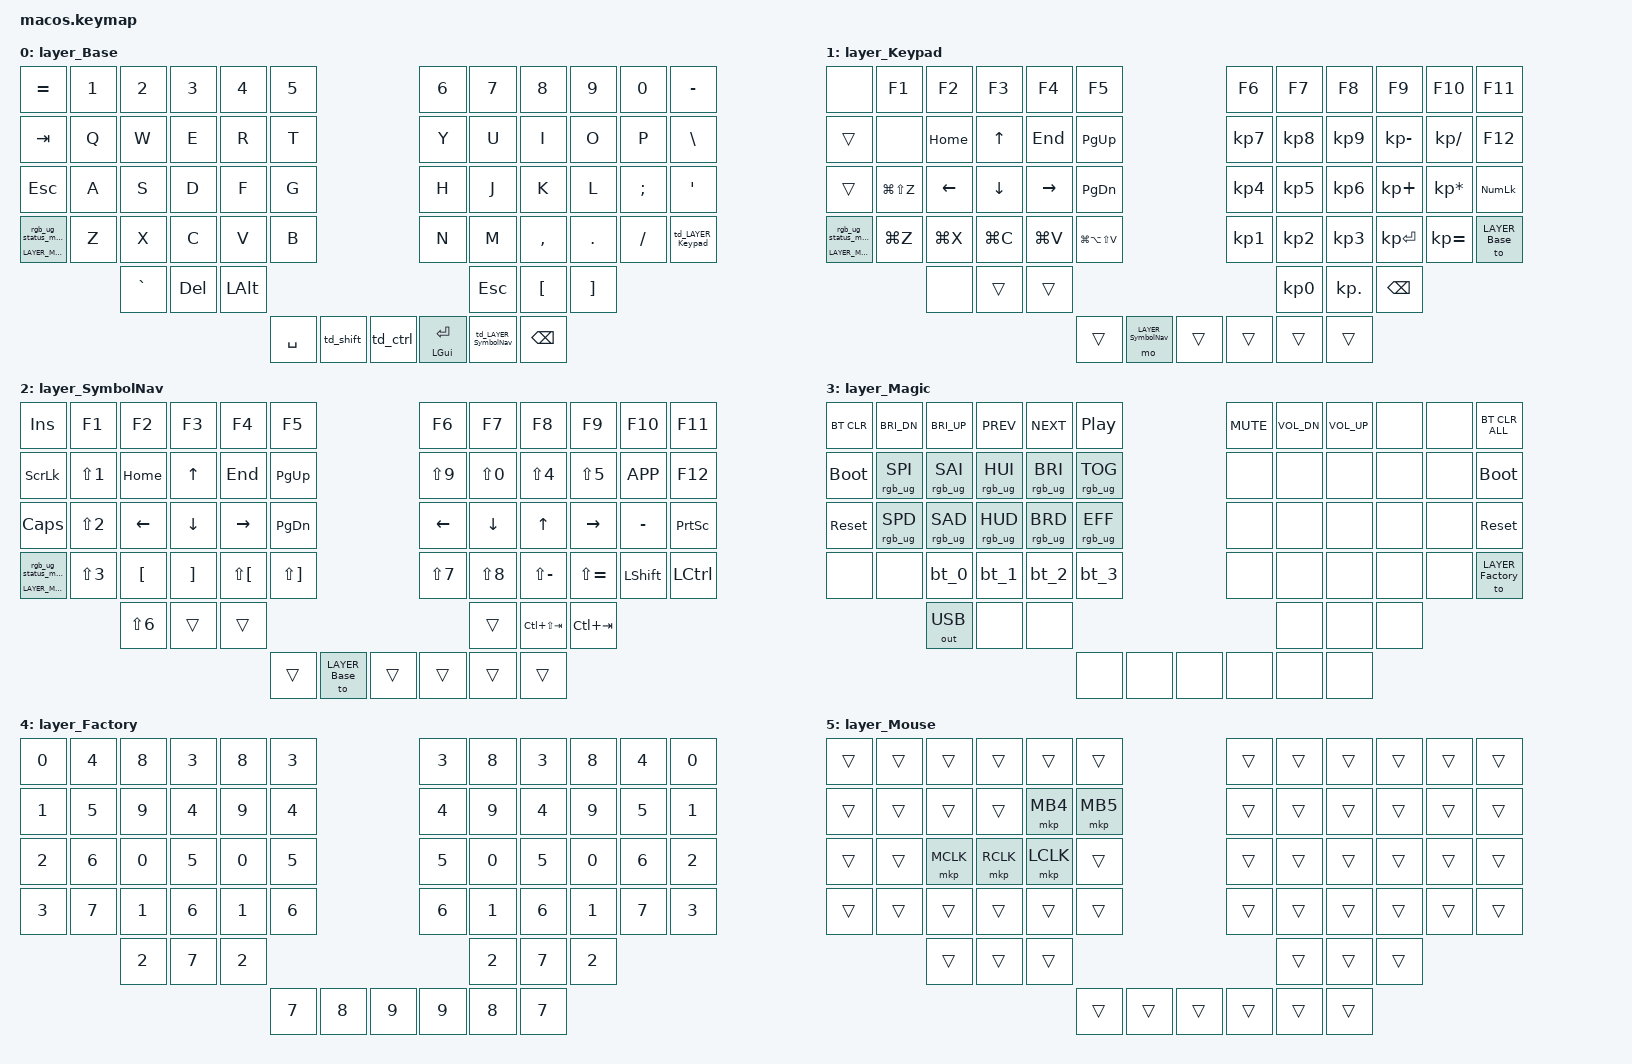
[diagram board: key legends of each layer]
/*
 * Copyright (c) 2020 The ZMK Contributors
 * Copyright (c) 2025 Innaworks Development Limited, trading as MoErgo
 *
 * SPDX-License-Identifier: MIT
 */


/* THIS FILE WAS GENERATED BY GO60 LAYOUT EDITOR
 *
 * This file was generated automatically. You may or may not want to
 * edit it directly.
 */

#include <behaviors.dtsi>

/* Include all behavior includes needed */

#include <dt-bindings/zmk/outputs.h>
#include <dt-bindings/zmk/keys.h>
#include <dt-bindings/zmk/bt.h>
#include <dt-bindings/zmk/rgb.h>

#include <input/processors.dtsi>
#include <dt-bindings/zmk/input_transform.h>
#include <zephyr/dt-bindings/input/input-event-codes.h>

/* On demand includes */
#include <dt-bindings/zmk/input_transform.h>
#include <dt-bindings/zmk/pointing.h>
#include <input/processors.dtsi>

/* Helper Macros, based on https://github.com/urob/zmk-helpers/ */

#pragma once

#define ZMK_HELPER_STRINGIFY(x) #x

// Preprocessor mechanism to overload macros, cf. https://stackoverflow.com/a/27051616/6114651
#define VARGS_(_10, _9, _8, _7, _6, _5, _4, _3, _2, _1, N, ...) N
#define VARGS(...) VARGS_(__VA_ARGS__, 10, 9, 8, 7, 6, 5, 4, 3, 2, 1, 0)
#define CONCAT_(a, b) a##b
#define CONCAT(a, b) CONCAT_(a, b)

#define ZMK_BEHAVIOR_CORE_tap_dance  \
    compatible = "zmk,behavior-tap-dance"; \
    #binding-cells = <0>

#define ZMK_BEHAVIOR(name, type, ...) \
    name: name { \
        ZMK_BEHAVIOR_CORE_ ## type; \
        __VA_ARGS__ \
    };

#define ZMK_TAP_DANCE(name, ...) \
    ZMK_BEHAVIOR(name, tap_dance, __VA_ARGS__)

#define ZMK_TD_LAYER(name, layer) \
    ZMK_TAP_DANCE(name, \
        tapping-term-ms = <200>; \
        bindings = <&mo layer>, <&to layer>; \
)





/* Key positions */

#define POS_LH_C6R1 0
#define POS_LH_C5R1 1
#define POS_LH_C4R1 2
#define POS_LH_C3R1 3
#define POS_LH_C2R1 4
#define POS_LH_C1R1 5
#define POS_RH_C1R1 6
#define POS_RH_C2R1 7
#define POS_RH_C3R1 8
#define POS_RH_C4R1 9
#define POS_RH_C5R1 10
#define POS_RH_C6R1 11
#define POS_LH_C6R2 12
#define POS_LH_C5R2 13
#define POS_LH_C4R2 14
#define POS_LH_C3R2 15
#define POS_LH_C2R2 16
#define POS_LH_C1R2 17
#define POS_RH_C1R2 18
#define POS_RH_C2R2 19
#define POS_RH_C3R2 20
#define POS_RH_C4R2 21
#define POS_RH_C5R2 22
#define POS_RH_C6R2 23
#define POS_LH_C6R3 24
#define POS_LH_C5R3 25
#define POS_LH_C4R3 26
#define POS_LH_C3R3 27
#define POS_LH_C2R3 28
#define POS_LH_C1R3 29
#define POS_RH_C1R3 30
#define POS_RH_C2R3 31
#define POS_RH_C3R3 32
#define POS_RH_C4R3 33
#define POS_RH_C5R3 34
#define POS_RH_C6R3 35
#define POS_LH_C6R4 36
#define POS_LH_C5R4 37
#define POS_LH_C4R4 38
#define POS_LH_C3R4 39
#define POS_LH_C2R4 40
#define POS_LH_C1R4 41
#define POS_RH_C1R4 42
#define POS_RH_C2R4 43
#define POS_RH_C3R4 44
#define POS_RH_C4R4 45
#define POS_RH_C5R4 46
#define POS_RH_C6R4 47
#define POS_LH_C4R5 48
#define POS_LH_C3R5 49
#define POS_LH_C2R5 50
#define POS_RH_C2R5 51
#define POS_RH_C3R5 52
#define POS_RH_C4R5 53
#define POS_LH_T1 54
#define POS_LH_T2 55
#define POS_LH_T3 56
#define POS_RH_T3 57
#define POS_RH_T2 58
#define POS_RH_T1 59


#define LEFT_HAND_KEYS \
  POS_LH_C1R1 POS_LH_C2R1 POS_LH_C3R1 POS_LH_C4R1 POS_LH_C5R1 POS_LH_C6R1 \
  POS_LH_C1R2 POS_LH_C2R2 POS_LH_C3R2 POS_LH_C4R2 POS_LH_C5R2 POS_LH_C6R2 \
  POS_LH_C1R3 POS_LH_C2R3 POS_LH_C3R3 POS_LH_C4R3 POS_LH_C5R3 POS_LH_C6R3 \
  POS_LH_C1R4 POS_LH_C2R4 POS_LH_C3R4 POS_LH_C4R4 POS_LH_C5R4 POS_LH_C6R4 \
              POS_LH_C2R5 POS_LH_C3R5 POS_LH_C4R5

#define RIGHT_HAND_KEYS \
  POS_RH_C1R1 POS_RH_C2R1 POS_RH_C3R1 POS_RH_C4R1 POS_RH_C5R1 POS_RH_C6R1 \
  POS_RH_C1R2 POS_RH_C2R2 POS_RH_C3R2 POS_RH_C4R2 POS_RH_C5R2 POS_RH_C6R2 \
  POS_RH_C1R3 POS_RH_C2R3 POS_RH_C3R3 POS_RH_C4R3 POS_RH_C5R3 POS_RH_C6R3 \
  POS_RH_C1R4 POS_RH_C2R4 POS_RH_C3R4 POS_RH_C4R4 POS_RH_C5R4 POS_RH_C6R4 \
              POS_RH_C2R5 POS_RH_C3R5 POS_RH_C4R5

#define THUMB_KEYS \
  POS_LH_T1 POS_LH_T2 POS_LH_T3 \
  POS_RH_T1 POS_RH_T2 POS_RH_T3

/* Environment and metadata defines */
#define KB_TYPE_GLOVE_80 1
#define KB_TYPE_GO_60    2

#define KB_TYPE          KB_TYPE_GO_60
#define EDITOR_HOST_OS   'M'

/* Automatically generated layer name defines */
#define LAYER_Base 0
#define LAYER_Keypad 1
#define LAYER_SymbolNav 2
#define LAYER_Magic 3
#define LAYER_Factory 4
#define LAYER_Mouse 5

/* To deal with the situation where there is no Lower layer, to keep &lower happy */
#ifndef LAYER_Lower
#define LAYER_Lower 0
#endif

/* Generated input processors */
/ {
    input_processors {
        zip_click_to_right_click_mapper: zip_click_to_right_click_mapper {
            compatible = "zmk,input-processor-code-mapper";
            #input-processor-cells = <0>;
            type = <INPUT_EV_KEY>;
            map = <INPUT_BTN_0 INPUT_BTN_1>;
        };

        // While the right trackpad is moving, temporarily overlay LAYER_Mouse
        // (left-hand click/back/forward keys) so the right hand can stay on the
        // trackpad for select/drag while the left hand drives clicks.
        // excluded-positions = the layer's own click/back/forward keys (POS_LH_C2R3
        // LCLK=28, C3R3 RCLK=27, C4R3 MCLK=26, C2R2 BACK=16, C1R2 FORWARD=17) - holding
        // one of these (e.g. LCLK for a drag) keeps the layer alive even if the trackpad
        // pauses mid-drag, instead of it timing out and dropping the held click.
        zip_temp_layer_mouse: zip_temp_layer_mouse {
            compatible = "zmk,input-processor-temp-layer";
            #input-processor-cells = <2>;
            require-prior-idle-ms = <300>;
            excluded-positions = <28 27 26 16 17>;
        };
    };
};

/* Custom Device-tree */


/* Input Listeners */
&cirque_rh_listener {
    input-processors = <&zip_xy_scaler 3 1>, <&zip_temp_layer_mouse LAYER_Mouse 300>;
    layer_SymbolNav {
        layers = <LAYER_SymbolNav>;
        input-processors = <&zip_xy_scaler 9 1>, <&zip_click_to_right_click_mapper>;
    };
};

&cirque_lh_listener {
    // Trackpad is set to natural scrolling in macOS; invert here so the physical
    // gesture direction still matches natural-scrolling convention.
    input-processors = <&zip_xy_scaler 2 5>, <&zip_xy_to_scroll_mapper>, <&zip_scroll_transform (INPUT_TRANSFORM_Y_INVERT)>;
    layer_SymbolNav {
        layers = <LAYER_SymbolNav>;
        input-processors = <&zip_xy_scaler 1 1>, <&zip_xy_to_scroll_mapper>, <&zip_scroll_transform (INPUT_TRANSFORM_Y_INVERT)>, <&zip_click_to_right_click_mapper>;
    };
    layer_Factory {
        layers = <LAYER_Factory>;
        input-processors = <&zip_xy_scaler 3 1>;
    };
};

/* System behavior and macros */
/ {
    behaviors {
        ZMK_TD_LAYER(lower, LAYER_Lower)
    };
};

/ {
    macros {
        rgb_ug_status_macro: rgb_ug_status_macro {
            label = "RGB_UG_STATUS";
            compatible = "zmk,behavior-macro";
            #binding-cells = <0>;
            bindings
                = <&rgb_ug RGB_STATUS>;
        };
    };
};

/ {
#ifdef BT_DISC_CMD
    behaviors {
        bt_0: bt_0 {
            compatible = "zmk,behavior-tap-dance";
            label = "BT_0";
            #binding-cells = <0>;
            tapping-term-ms = <200>;
            bindings = <&bt_select_0>, <&bt BT_DISC 0>;
        };
        bt_1: bt_1 {
            compatible = "zmk,behavior-tap-dance";
            label = "BT_1";
            #binding-cells = <0>;
            tapping-term-ms = <200>;
            bindings = <&bt_select_1>, <&bt BT_DISC 1>;
        };
        bt_2: bt_2 {
            compatible = "zmk,behavior-tap-dance";
            label = "BT_2";
            #binding-cells = <0>;
            tapping-term-ms = <200>;
            bindings = <&bt_select_2>, <&bt BT_DISC 2>;
        };
        bt_3: bt_3 {
            compatible = "zmk,behavior-tap-dance";
            label = "BT_3";
            #binding-cells = <0>;
            tapping-term-ms = <200>;
            bindings = <&bt_select_3>, <&bt BT_DISC 3>;
        };
    };
    macros {
        bt_select_0: bt_select_0 {
            label = "BT_SELECT_0";
            compatible = "zmk,behavior-macro";
            #binding-cells = <0>;
            bindings
                = <&out OUT_BLE>,
                  <&bt BT_SEL 0>;
        };
        bt_select_1: bt_select_1 {
            label = "BT_SELECT_1";
            compatible = "zmk,behavior-macro";
            #binding-cells = <0>;
            bindings
                = <&out OUT_BLE>,
                  <&bt BT_SEL 1>;
        };
        bt_select_2: bt_select_2 {
            label = "BT_SELECT_2";
            compatible = "zmk,behavior-macro";
            #binding-cells = <0>;
            bindings
                = <&out OUT_BLE>,
                  <&bt BT_SEL 2>;
        };
        bt_select_3: bt_select_3 {
            label = "BT_SELECT_3";
            compatible = "zmk,behavior-macro";
            #binding-cells = <0>;
            bindings
                = <&out OUT_BLE>,
                  <&bt BT_SEL 3>;
        };
    };
#else
    macros {
        bt_0: bt_0 {
            label = "BT_0";
            compatible = "zmk,behavior-macro";
            #binding-cells = <0>;
            bindings
                = <&out OUT_BLE>,
                  <&bt BT_SEL 0>;
        };
        bt_1: bt_1 {
            label = "BT_1";
            compatible = "zmk,behavior-macro";
            #binding-cells = <0>;
            bindings
                = <&out OUT_BLE>,
                  <&bt BT_SEL 1>;
        };
        bt_2: bt_2 {
            label = "BT_2";
            compatible = "zmk,behavior-macro";
            #binding-cells = <0>;
            bindings
                = <&out OUT_BLE>,
                  <&bt BT_SEL 2>;
        };
        bt_3: bt_3 {
            label = "BT_3";
            compatible = "zmk,behavior-macro";
            #binding-cells = <0>;
            bindings
                = <&out OUT_BLE>,
                  <&bt BT_SEL 3>;
        };
    };
#endif
};

/ {
    behaviors {
        magic: magic {
            compatible = "zmk,behavior-hold-tap";
            label = "MAGIC_HOLD_TAP";
            #binding-cells = <2>;
            flavor = "tap-preferred";
            tapping-term-ms = <200>;
            bindings = <&mo>, <&rgb_ug_status_macro>;
        };
    };
};


/* Custom Defined Behaviors */
/ {
    behaviors {
        // Left thumb Ctrl: tap = normal Ctrl (held, for chords), double-tap = tmux prefix (Ctrl+b)
        td_ctrl: td_ctrl {
            compatible = "zmk,behavior-tap-dance";
            label = "TD_CTRL";
            #binding-cells = <0>;
            tapping-term-ms = <200>;
            bindings = <&kp LCTRL>, <&kp LC(B)>;
        };

        // Left thumb Shift: tap = normal Shift (held), double-tap = sticky Alt (applies to next keypress only)
        td_shift: td_shift {
            compatible = "zmk,behavior-tap-dance";
            label = "TD_SHIFT";
            #binding-cells = <0>;
            tapping-term-ms = <200>;
            bindings = <&kp LSHFT>, <&sk LALT>;
        };
    };
};

/* Automatically generated macro definitions */
/ {
    macros {

    };
};

/* Automatically generated behavior definitions */
/ {
    behaviors {

        // Layer tap dance behaviors

        ZMK_TD_LAYER(td_LAYER_Keypad, 1)
        ZMK_TD_LAYER(td_LAYER_SymbolNav, 2)

    };
};

/* Automatically generated combos definitions */


/* Automatically generated keymap */
/ {
    keymap {
        compatible = "zmk,keymap";


        layer_Base {
            bindings = <
            &kp EQUAL  &kp N1     &kp N2   &kp N3    &kp N4  &kp N5                                                                                &kp N6   &kp N7     &kp N8    &kp N9    &kp N0         &kp MINUS
              &kp TAB   &kp Q      &kp W    &kp E     &kp R   &kp T                                                                                 &kp Y    &kp U      &kp I     &kp O     &kp P          &kp BSLH
              &kp ESC   &kp A      &kp S    &kp D     &kp F   &kp G                                                                                 &kp H    &kp J      &kp K     &kp L  &kp SEMI           &kp SQT
 &magic LAYER_Magic 0   &kp Z      &kp X    &kp C     &kp V   &kp B                                                                                 &kp N    &kp M  &kp COMMA   &kp DOT  &kp FSLH  &td_LAYER_Keypad
                               &kp GRAVE  &kp DEL  &kp LALT                                                                                                &kp ESC   &kp LBKT  &kp RBKT
                                                                     &kp SPACE  &td_shift  &td_ctrl  &mt LGUI RET  &td_LAYER_SymbolNav  &kp BSPC
            >;
        };

        layer_Keypad {
            bindings = <
                &none         &kp F1     &kp F2     &kp F3     &kp F4             &kp F5                                                                  &kp F6     &kp F7      &kp F8        &kp F9          &kp F10         &kp F11
               &trans          &none   &kp HOME     &kp UP    &kp END          &kp PG_UP                                                               &kp KP_N7  &kp KP_N8   &kp KP_N9  &kp KP_MINUS     &kp KP_SLASH         &kp F12
               &trans  &kp LG(LS(Z))   &kp LEFT   &kp DOWN  &kp RIGHT          &kp PG_DN                                                               &kp KP_N4  &kp KP_N5   &kp KP_N6   &kp KP_PLUS  &kp KP_MULTIPLY      &kp KP_NUM
 &magic LAYER_Magic 0      &kp LG(Z)  &kp LG(X)  &kp LG(C)  &kp LG(V)  &kp LG(LA(LS(V)))                                                               &kp KP_N1  &kp KP_N2   &kp KP_N3  &kp KP_ENTER     &kp KP_EQUAL  &to LAYER_Base
                                          &none     &trans     &trans                                                                                             &kp KP_N0  &kp KP_DOT      &kp BSPC
                                                                                          &trans  &mo LAYER_SymbolNav  &trans  &trans  &trans  &trans
            >;
        };

        layer_SymbolNav {
            bindings = <
              &kp INS      &kp F1      &kp F2    &kp F3        &kp F4        &kp F5                                                              &kp F6      &kp F7           &kp F8         &kp F9    &kp F10    &kp F11
             &kp SLCK  &kp LS(N1)    &kp HOME    &kp UP       &kp END     &kp PG_UP                                                          &kp LS(N9)  &kp LS(N0)       &kp LS(N4)     &kp LS(N5)  &kp K_APP    &kp F12
             &kp CAPS  &kp LS(N2)    &kp LEFT  &kp DOWN     &kp RIGHT     &kp PG_DN                                                            &kp LEFT    &kp DOWN           &kp UP      &kp RIGHT  &kp MINUS  &kp PSCRN
 &magic LAYER_Magic 0  &kp LS(N3)    &kp LBKT  &kp RBKT  &kp LS(LBKT)  &kp LS(RBKT)                                                          &kp LS(N7)  &kp LS(N8)    &kp LS(MINUS)  &kp LS(EQUAL)  &kp LSHFT  &kp LCTRL
                                   &kp LS(N6)    &trans        &trans                                                                                        &trans  &kp LC(LS(TAB))    &kp LC(TAB)
                                                                                     &trans  &to LAYER_Base  &trans  &trans  &trans  &trans
            >;
        };

        layer_Magic {
            bindings = <
  &bt BT_CLR     &kp C_BRI_DN     &kp C_BRI_UP       &kp C_PREV       &kp C_NEXT         &kp C_PP                                                  &kp C_MUTE  &kp C_VOL_DN  &kp C_VOL_UP   &none   &none     &bt BT_CLR_ALL
 &bootloader  &rgb_ug RGB_SPI  &rgb_ug RGB_SAI  &rgb_ug RGB_HUI  &rgb_ug RGB_BRI  &rgb_ug RGB_TOG                                                       &none         &none         &none   &none   &none        &bootloader
  &sys_reset  &rgb_ug RGB_SPD  &rgb_ug RGB_SAD  &rgb_ug RGB_HUD  &rgb_ug RGB_BRD  &rgb_ug RGB_EFF                                                       &none         &none         &none   &none   &none         &sys_reset
       &none            &none            &bt_0            &bt_1            &bt_2            &bt_3                                                       &none         &none         &none   &none   &none  &to LAYER_Factory
                                  &out OUT_USB            &none            &none                                                                                      &none         &none   &none
                                                                                                    &none   &none   &none   &none   &none   &none
            >;
        };

        layer_Factory {
            bindings = <
 &kp N0  &kp N4  &kp N8  &kp N3  &kp N8  &kp N3                                                  &kp N3  &kp N8  &kp N3  &kp N8  &kp N4  &kp N0
 &kp N1  &kp N5  &kp N9  &kp N4  &kp N9  &kp N4                                                  &kp N4  &kp N9  &kp N4  &kp N9  &kp N5  &kp N1
 &kp N2  &kp N6  &kp N0  &kp N5  &kp N0  &kp N5                                                  &kp N5  &kp N0  &kp N5  &kp N0  &kp N6  &kp N2
 &kp N3  &kp N7  &kp N1  &kp N6  &kp N1  &kp N6                                                  &kp N6  &kp N1  &kp N6  &kp N1  &kp N7  &kp N3
                 &kp N2  &kp N7  &kp N2                                                                  &kp N2  &kp N7  &kp N2
                                                 &kp N7  &kp N8  &kp N9  &kp N9  &kp N8  &kp N7
            >;
        };

        // Auto-overlaid on top of whatever layer is active while the right trackpad
        // is moving (see zip_temp_layer_mouse above). Right hand stays on the
        // trackpad; left hand gets click/back/forward directly under the resting
        // fingers so text-select and drag-and-drop are one-handed-trackpad + left click.
        layer_Mouse {
            bindings = <
              &trans  &trans  &trans  &trans        &trans           &trans                                                       &trans  &trans  &trans  &trans  &trans  &trans
              &trans  &trans  &trans  &trans  &mkp MB4  &mkp MB5                                                      &trans  &trans  &trans  &trans  &trans  &trans
              &trans  &trans  &mkp MCLK  &mkp RCLK      &mkp LCLK          &trans                                                  &trans  &trans  &trans  &trans  &trans  &trans
              &trans  &trans  &trans  &trans        &trans           &trans                                                       &trans  &trans  &trans  &trans  &trans  &trans
                              &trans  &trans  &trans                                                                                       &trans  &trans  &trans
                                                                     &trans  &trans  &trans  &trans  &trans  &trans
            >;
        };

    };
};
